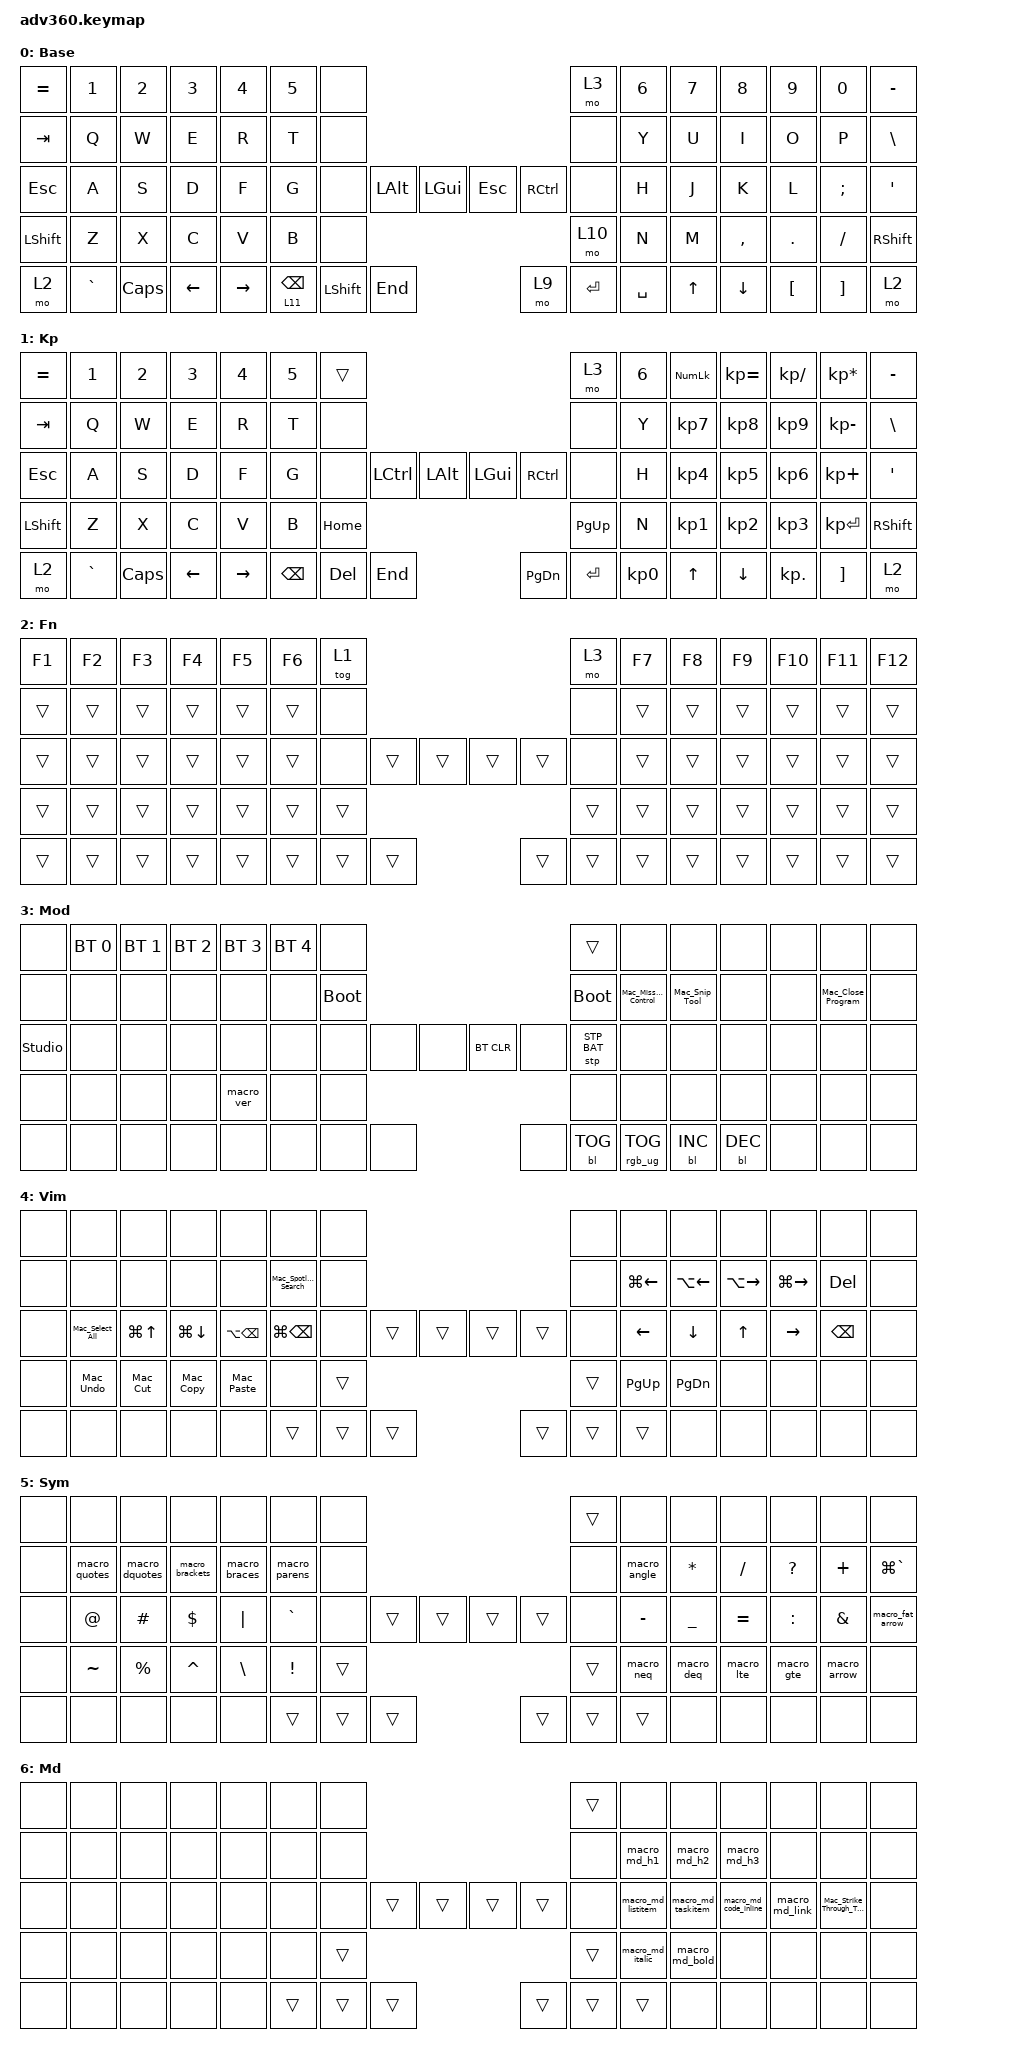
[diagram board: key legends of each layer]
#include <behaviors.dtsi>
#include <dt-bindings/zmk/keys.h>
#include <dt-bindings/zmk/bt.h>
#include <dt-bindings/zmk/rgb.h>
#include <dt-bindings/zmk/stp.h>
#include <dt-bindings/zmk/backlight.h>
#include <dt-bindings/zmk/pointing.h>

/ {
    behaviors {
      #include "macros.dtsi"
      #include "version.dtsi"

      hm: homerow_mods {
          compatible = "zmk,behavior-hold-tap";
          label = "HOMEROW_MODS";
          #binding-cells = <2>;
          tapping-term-ms = <200>;
          quick-tap-ms = <175>;
          flavor = "tap-preferred";
          bindings = <&kp>, <&kp>;
      };
    };

  keymap {
    compatible = "zmk,keymap";

    default_layer {
      display-name = "Base";
      bindings = <
         &kp EQUAL &kp N1   &kp N2   &kp N3   &kp N4     &kp N5 &none                                                            &mo 3 &kp N6 &kp N7 &kp N8    &kp N9   &kp N0   &kp MINUS
         &kp TAB  &kp Q     &kp W    &kp E    &kp R      &kp T  &none                                                            &none &kp Y  &kp U  &kp I     &kp O    &kp P    &kp BSLH
         &kp ESC  &kp A     &kp S    &kp D    &kp F      &kp G  &none           &kp LALT  &kp LGUI &kp ESC   &kp RCTRL           &none &kp H  &kp J  &kp K     &kp L    &kp SEMI &kp SQT
         &kp LSHFT &kp Z    &kp X    &kp C    &kp V      &kp B                            &none    &mo 10                              &kp N  &kp M  &kp COMMA &kp DOT  &kp FSLH &kp RSHFT
         &mo 2    &kp GRAVE &kp CAPS &kp LEFT &kp RIGHT                &lt 11 BSPC &kp LSHFT &kp END &mo 9   &kp ENTER &kp SPACE              &kp UP &kp DOWN  &kp LBKT &kp RBKT &mo 2
      >;
    };
    keypad {
      display-name = "Kp";
      bindings = <
         &kp EQUAL &kp N1   &kp N2   &kp N3   &kp N4     &kp N5 &trans                                                           &mo 3 &kp N6 &kp KP_NUM &kp KP_EQUAL &kp KP_DIVIDE &kp KP_MULTIPLY &kp MINUS
         &kp TAB  &kp Q     &kp W    &kp E    &kp R      &kp T  &none                                                            &none &kp Y  &kp KP_N7  &kp KP_N8    &kp KP_N9     &kp KP_MINUS    &kp BSLH
         &kp ESC  &kp A     &kp S    &kp D    &kp F      &kp G  &none           &kp LCTRL &kp LALT &kp LGUI  &kp RCTRL           &none &kp H  &kp KP_N4  &kp KP_N5    &kp KP_N6     &kp KP_PLUS     &kp SQT
         &kp LSHFT &kp Z    &kp X    &kp C    &kp V      &kp B                            &kp HOME &kp PG_UP                           &kp N  &kp KP_N1  &kp KP_N2    &kp KP_N3     &kp KP_ENTER    &kp RSHFT
         &mo 2    &kp GRAVE &kp CAPS &kp LEFT &kp RIGHT                &kp BSPC &kp DEL   &kp END  &kp PG_DN &kp ENTER &kp KP_N0              &kp UP     &kp DOWN     &kp KP_DOT    &kp RBKT        &mo 2
      >;
    };
    fn {
      display-name = "Fn";
      bindings = <
         &kp F1 &kp F2 &kp F3 &kp F4 &kp F5 &kp F6 &tog 1                                          &mo 3 &kp F7 &kp F8 &kp F9 &kp F10 &kp F11 &kp F12
         &trans &trans &trans &trans &trans &trans &none                                           &none &trans &trans &trans &trans  &trans  &trans
         &trans &trans &trans &trans &trans &trans &none        &trans &trans &trans &trans        &none &trans &trans &trans &trans  &trans  &trans
         &trans &trans &trans &trans &trans &trans                     &trans &trans                     &trans &trans &trans &trans  &trans  &trans
         &trans &trans &trans &trans &trans              &trans &trans &trans &trans &trans &trans              &trans &trans &trans  &trans  &trans
      >;
    };
    mod {
      display-name = "Mod";
      bindings = <
         &none &bt BT_SEL 0 &bt BT_SEL 1 &bt BT_SEL 2 &bt BT_SEL 3 &bt BT_SEL 4 &none                                                                    &trans                 &none        &none        &none        &none &none &none
         &none &none       &none        &none        &none        &none        &bootloader                                                               &bootloader            &Mac_Mission_Control &Mac_Snip_Tool &none &none &Mac_Close_Program &none
         &studio_unlock &none       &none        &none        &none        &none        &none                   &none &none &bt BT_CLR &none                      &stp STP_BAT &none        &none        &none        &none &none &none
         &none &none       &none        &none        &macro_ver   &none                                      &none &none                                                        &none        &none        &none        &none &none &none
         &none &none       &none        &none        &none                                       &none &none &none &none      &bl BL_TOG &rgb_ug RGB_TOG                                     &bl BL_INC   &bl BL_DEC   &none &none &none
      >;
    };
    extra1 {
      display-name = "Pink";
      status = "reserved";
    };
    extra2 {
      display-name = "Purple";
      status = "reserved";
    };
    extra3 {
      display-name = "Cyan";
      status = "reserved";
    };
    extra4 {
      display-name = "Yellow";
      status = "reserved";
    };
    extra5 {
      display-name = "Orange";
      status = "reserved";
    };
    vim_nav {
      display-name = "Vim";
      bindings = <
         &none    &none     &none    &none    &none      &none  &none                                                            &none &none  &none  &none     &none    &none    &none
         &none    &none     &none    &none    &none      &Mac_Spotlight_Search &none                                             &none &kp LG(LEFT) &kp LA(LEFT) &kp LA(RIGHT) &kp LG(RIGHT) &kp DEL &none
         &none    &Mac_Select_All &kp LG(UP) &kp LG(DOWN) &kp LA(BSPC) &kp LG(BSPC) &none &trans &trans &trans &trans            &none &kp LEFT &kp DOWN &kp UP &kp RIGHT &kp BSPC &none
         &none    &Mac_Undo &Mac_Cut &Mac_Copy &Mac_Paste &none                           &trans   &trans                              &kp PG_UP &kp PG_DN &none &none  &none    &none
         &none    &none     &none    &none    &none                    &trans   &trans    &trans   &trans    &trans    &trans                 &none  &none     &none    &none    &none
      >;
    };
    symbol {
      display-name = "Sym";
      bindings = <
         &none    &none     &none    &none    &none      &none  &none                                                            &trans &none &none  &none     &none    &none    &none
         &none    &macro_quotes &macro_dquotes &macro_brackets &macro_braces &macro_parens &none                                 &none &macro_angle &kp STAR &kp FSLH &kp QMARK &kp PLUS &kp LG(GRAVE)
         &none    &kp AT    &kp HASH &kp DOLLAR &kp PIPE &kp GRAVE &none        &trans    &trans   &trans    &trans              &none &kp MINUS &kp UNDER &kp EQUAL &kp COLON &kp AMPS &macro_fat_arrow
         &none    &kp TILDE &kp PRCNT &kp CARET &kp BSLH &kp EXCL                         &trans   &trans                              &macro_neq &macro_deq &macro_lte &macro_gte &macro_arrow &none
         &none    &none     &none    &none    &none                    &trans   &trans    &trans   &trans    &trans    &trans                 &none  &none     &none    &none    &none
      >;
    };
    md {
      display-name = "Md";
      bindings = <
         &none    &none     &none    &none    &none      &none  &none                                                            &trans &none &none  &none     &none    &none    &none
         &none    &none     &none    &none    &none      &none  &none                                                            &none &macro_md_h1 &macro_md_h2 &macro_md_h3 &none &none &none
         &none    &none     &none    &none    &none      &none  &none           &trans    &trans   &trans    &trans              &none &macro_md_listitem &macro_md_taskitem &macro_md_code_inline &macro_md_link &Mac_Strike_Through_Text &none
         &none    &none     &none    &none    &none      &none                            &trans   &trans                              &macro_md_italic &macro_md_bold &none &none &none &none
         &none    &none     &none    &none    &none                    &trans   &trans    &trans   &trans    &trans    &trans                 &none  &none     &none    &none    &none
      >;
    };
  };
};
